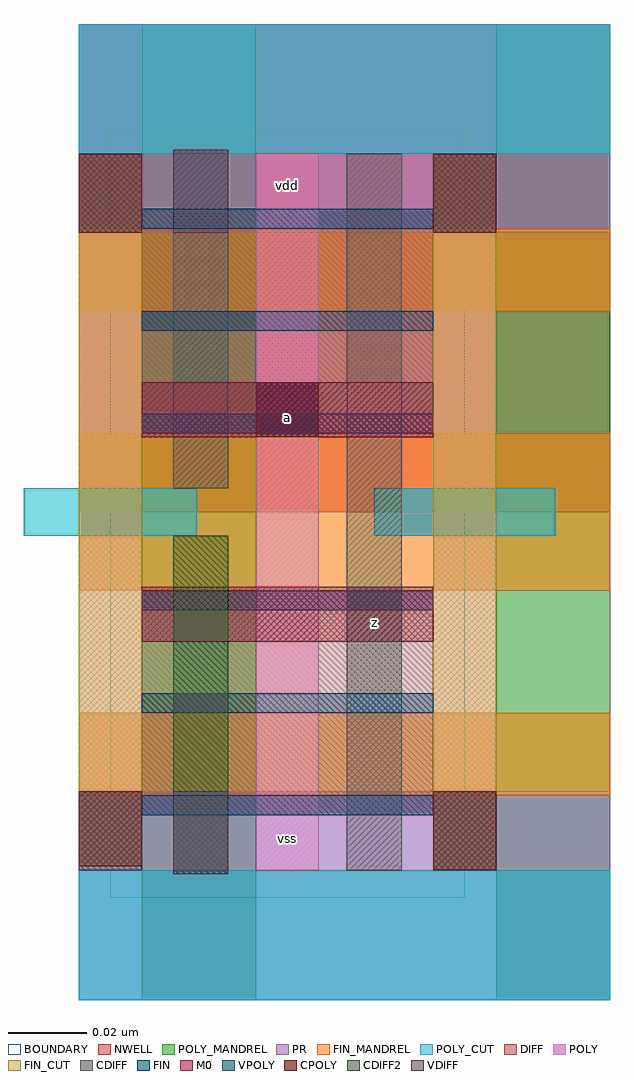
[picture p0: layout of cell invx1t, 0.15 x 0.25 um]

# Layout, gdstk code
import gdstk
lib = gdstk.Library(unit=1e-6, precision=1e-11)
def R(c, l, rs):  # rectangles x0, y0, x1, y1
    for r in rs: c.add(gdstk.rectangle(r[:2], r[2:], *l))
def A(c, l, x, y, w, h, nx, ny, dx, dy):  # array of equal rectangles
    R(c, l, [(x+i*dx, y+j*dy, x+i*dx+w, y+j*dy+h) for i in range(nx) for j in range(ny)])
BOUNDARY = (1, 0)
NWELL = (5, 1)
DIFF = (7, 7)
FIN = (7, 8)
FIN_MANDREL = (7, 10)
FIN_CUT = (7, 50)
POLY = (9, 7)
POLY_MANDREL = (9, 10)
POLY_CUT = (9, 50)
CPOLY = (9, 100)
VPOLY = (9, 135)
VDIFF = (10, 0)
CDIFF = (10, 1)
CDIFF2 = (10, 2)
M0 = (30, 0)
PR = (30, 1)

invx1t = lib.new_cell('invx1t')
R(invx1t, BOUNDARY, [(-0.008,-0.013,0.082,0.182), (-0.008,-0.013,0.082,0.182)])
R(invx1t, NWELL, [(-0.016,0.085,0.119,0.209)])
R(invx1t, DIFF, [(0,0.008,0.074,0.065), (0,0.105,0.074,0.162)])
A(invx1t, FIN, 0, 0.008, 0.074, 0.005, 1, 3, 0, 0.026)
A(invx1t, FIN, 0, 0.105, 0.074, 0.005, 1, 3, 0, 0.026)
R(invx1t, FIN_MANDREL, [(-0.016,0.013,0.119,0.034), (-0.016,0.065,0.119,0.105), (-0.016,0.136,0.119,0.157)])
R(invx1t, FIN_CUT, [(0.074,-0.006,0.09,0.176), (-0.016,-0.005,0,0.176)])
R(invx1t, POLY, [(-0.016,-0.006,0,0.079), (0.029,-0.006,0.045,0.176), (0.074,-0.006,0.09,0.079), (-0.016,0.091,0,0.176), (0.074,0.091,0.09,0.176)])
R(invx1t, POLY_MANDREL, [(0,-0.039,0.029,0.209), (0.09,-0.039,0.119,0.209)])
R(invx1t, POLY_CUT, [(-0.016,-0.039,0.119,-0.006), (-0.03,0.079,0.014,0.091), (0.059,0.079,0.105,0.091), (-0.016,0.176,0.119,0.209)])
R(invx1t, CPOLY, [(0.074,-0.006,0.09,0.014), (-0.016,-0.005,0,0.014), (0.029,0.104,0.045,0.118), (-0.016,0.156,0,0.176), (0.074,0.156,0.09,0.176)])
R(invx1t, VPOLY, [(-0.016,-0.006,0,0.014), (0.074,-0.006,0.09,0.014), (0.029,0.104,0.045,0.118), (-0.016,0.156,0,0.176), (0.074,0.156,0.09,0.176)])
R(invx1t, VDIFF, [(0.008,-0.007,0.022,0.014), (0.052,0.052,0.066,0.066), (0.008,0.156,0.022,0.177)])
R(invx1t, CDIFF, [(0.052,-0.006,0.066,0.176), (0.008,0.091,0.022,0.177)])
R(invx1t, CDIFF2, [(0.008,-0.007,0.022,0.079)])
R(invx1t, M0, [(0,0.052,0.074,0.066), (0,0.104,0.074,0.118)])
R(invx1t, PR, [(-0.016,-0.039,0.119,0.014), (-0.016,0.156,0.119,0.209)])
invx1t.add(gdstk.Label('vss', (0.037,0.002), layer=30, texttype=2))
invx1t.add(gdstk.Label('vdd', (0.037,0.168), layer=30, texttype=2))
invx1t.add(gdstk.Label('a', (0.037,0.109), layer=30, texttype=12))
invx1t.add(gdstk.Label('z', (0.059,0.057), layer=30, texttype=12))
invx1t.add(gdstk.Label('vdd', (0.037,0.168), layer=30, texttype=12))
invx1t.add(gdstk.Label('vss', (0.037,0.002), layer=30, texttype=12))

lib.write_gds('invx1t.gds')
